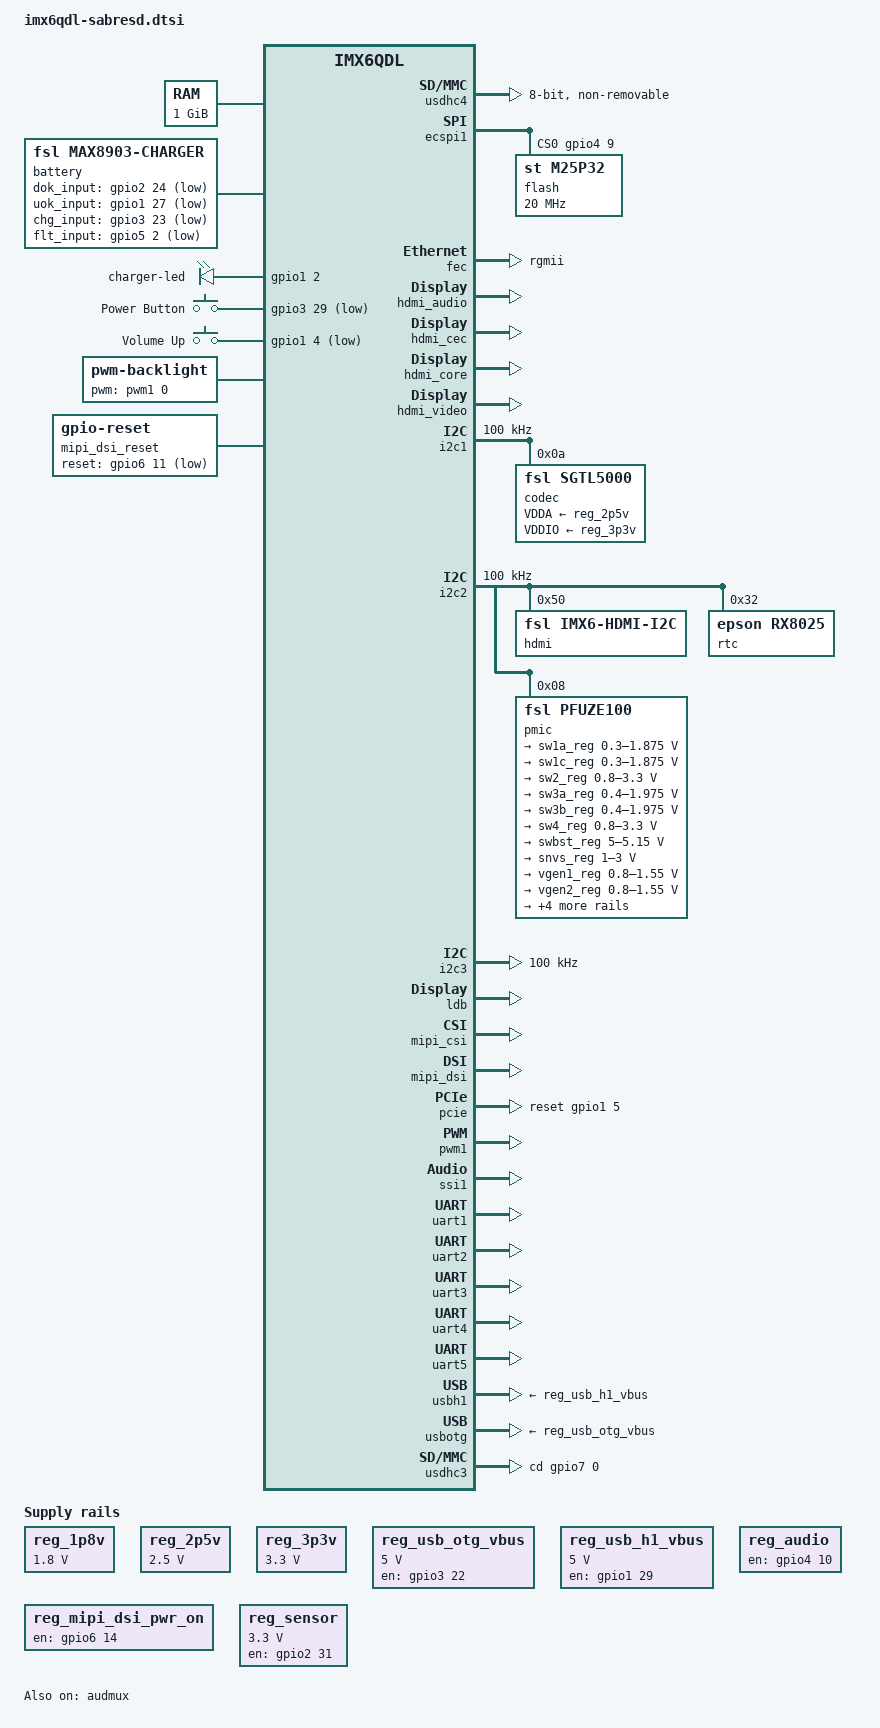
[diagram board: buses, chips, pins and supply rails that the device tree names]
/*
 * Copyright 2012 Freescale Semiconductor, Inc.
 * Copyright 2011 Linaro Ltd.
 *
 * The code contained herein is licensed under the GNU General Public
 * License. You may obtain a copy of the GNU General Public License
 * Version 2 or later at the following locations:
 *
 * http://www.opensource.org/licenses/gpl-license.html
 * http://www.gnu.org/copyleft/gpl.html
 */

/ {
	aliases {
		mxcfb0 = &mxcfb1;
		mxcfb1 = &mxcfb2;
		mxcfb2 = &mxcfb3;
		mxcfb3 = &mxcfb4;
	};

	memory {
		reg = <0x10000000 0x40000000>;
	};

	battery: max8903@0 {
		compatible = "fsl,max8903-charger";
		pinctrl-names = "default";
		dok_input = <&gpio2 24 1>;
		uok_input = <&gpio1 27 1>;
		chg_input = <&gpio3 23 1>;
		flt_input = <&gpio5 2 1>;
		fsl,dcm_always_high;
		fsl,dc_valid;
		fsl,usb_valid;
		status = "okay";
	};

	hannstar_cabc {
		compatible = "hannstar,cabc";

		lvds0 {
			gpios = <&gpio6 15 GPIO_ACTIVE_HIGH>;
		};

		lvds1 {
			gpios = <&gpio6 16 GPIO_ACTIVE_HIGH>;
		};
	};

	leds {
		compatible = "gpio-leds";

		charger-led {
			gpios = <&gpio1 2 0>;
			linux,default-trigger = "max8903-charger-charging";
			retain-state-suspended;
		};
	};

	regulators {
		compatible = "simple-bus";

		//add ben
                reg_1p8v: 1p8v {
                        compatible = "regulator-fixed";
                        regulator-name = "1P8V";
                        regulator-min-microvolt = <1800000>;
                        regulator-max-microvolt = <1800000>;
                        regulator-always-on;
                };

                reg_2p5v: 2p5v {
                        compatible = "regulator-fixed";
                        regulator-name = "2P5V";
                        regulator-min-microvolt = <2500000>;
                        regulator-max-microvolt = <2500000>;
                        regulator-always-on;
                };

                reg_3p3v: 3p3v {
                        compatible = "regulator-fixed";
                        regulator-name = "3P3V";
                        regulator-min-microvolt = <3300000>;
                        regulator-max-microvolt = <3300000>;
                        regulator-always-on;
                };

		reg_usb_otg_vbus: usb_otg_vbus {
			compatible = "regulator-fixed";
			regulator-name = "usb_otg_vbus";
			regulator-min-microvolt = <5000000>;
			regulator-max-microvolt = <5000000>;
			gpio = <&gpio3 22 0>;
			enable-active-high;
		};

		reg_usb_h1_vbus: usb_h1_vbus {
			compatible = "regulator-fixed";
			regulator-name = "usb_h1_vbus";
			regulator-min-microvolt = <5000000>;
			regulator-max-microvolt = <5000000>;
			gpio = <&gpio1 29 0>;
			enable-active-high;
		};

		reg_audio: wm8962_supply {
			compatible = "regulator-fixed";
			regulator-name = "wm8962-supply";
			gpio = <&gpio4 10 0>;
			enable-active-high;
		};

		reg_mipi_dsi_pwr_on: mipi_dsi_pwr_on {
			compatible = "regulator-fixed";
			regulator-name = "mipi_dsi_pwr_on";
			gpio = <&gpio6 14 0>;
			enable-active-high;
		};

		reg_sensor: sensor_supply {
			compatible = "regulator-fixed";
			regulator-name = "sensor-supply";
			regulator-min-microvolt = <3300000>;
			regulator-max-microvolt = <3300000>;
			gpio = <&gpio2 31 0>;
			startup-delay-us = <500>;
			enable-active-high;
		};
	};

	gpio-keys {
		compatible = "gpio-keys";
		power {
			label = "Power Button";
			gpios = <&gpio3 29 1>;
			linux,code = <116>; /* KEY_POWER */
			gpio-key,wakeup;
		};

		volume-up {
			label = "Volume Up";
			gpios = <&gpio1 4 1>;
			linux,code = <115>; /* KEY_VOLUMEUP */
		};
		#if 0
		volume-down {
			label = "Volume Down";
			gpios = <&gpio1 5 1>;
			linux,code = <114>; /* KEY_VOLUMEDOWN */
		};
		#endif
	};

        sound {
                compatible = "fsl,imx6q-nitrogen6x-sgtl5000",
                             "fsl,imx-audio-sgtl5000";
                model = "imx6q-nano-sgtl5000";
                ssi-controller = <&ssi1>;
                audio-codec = <&codec>;
                audio-routing =
                        "MIC_IN", "Mic Jack",
                        "Mic Jack", "Mic Bias",
                        "Headphone Jack", "HP_OUT";
                mux-int-port = <1>;
                mux-ext-port = <4>;
        };

	sound-hdmi {
		compatible = "fsl,imx6q-audio-hdmi",
			     "fsl,imx-audio-hdmi";
		model = "imx-audio-hdmi";
		hdmi-controller = <&hdmi_audio>;
	};

	mxcfb1: fb@0 {
		compatible = "fsl,mxc_sdc_fb";
		disp_dev = "ldb";
		interface_pix_fmt = "RGB666";
		mode_str ="LDB-XGA";
		default_bpp = <16>;
		int_clk = <0>;
		late_init = <0>;
		status = "disabled";
	};

	mxcfb2: fb@1 {
		compatible = "fsl,mxc_sdc_fb";
		disp_dev = "hdmi";
		interface_pix_fmt = "RGB24";
		mode_str ="1920x1080M@60";
		default_bpp = <24>;
		int_clk = <0>;
		late_init = <0>;
		status = "disabled";
	};

	mxcfb3: fb@2 {
		compatible = "fsl,mxc_sdc_fb";
		disp_dev = "lcd";
		interface_pix_fmt = "RGB565";
		mode_str ="CLAA-WVGA";
		default_bpp = <16>;
		int_clk = <0>;
		late_init = <0>;
		status = "disabled";
	};

	mxcfb4: fb@3 {
		compatible = "fsl,mxc_sdc_fb";
		disp_dev = "ldb";
		interface_pix_fmt = "RGB666";
		mode_str ="LDB-XGA";
		default_bpp = <16>;
		int_clk = <0>;
		late_init = <0>;
		status = "disabled";
	};

	lcd@0 {
		compatible = "fsl,lcd";
		ipu_id = <0>;
		disp_id = <0>;
		default_ifmt = "RGB565";
		pinctrl-names = "default";
		pinctrl-0 = <&pinctrl_ipu1_1>;
		status = "okay";
	};

	backlight {
		compatible = "pwm-backlight";
		pwms = <&pwm1 0 5000000>;
		//brightness-levels = <0 4 8 16 32 64 128 255>;
		brightness-levels = <0 4 8 16 32 200 230 255>;
		default-brightness-level = <7>;
	};

	v4l2_cap_0 {
		compatible = "fsl,imx6q-v4l2-capture";
		ipu_id = <0>;
		csi_id = <0>;
		mclk_source = <0>;
		status = "okay";
	};

	v4l2_cap_1 {
		compatible = "fsl,imx6q-v4l2-capture";
		ipu_id = <0>;
		csi_id = <1>;
		mclk_source = <0>;
		status = "okay";
	};

	v4l2_out {
		compatible = "fsl,mxc_v4l2_output";
		status = "okay";
	};

	mipi_dsi_reset: mipi-dsi-reset {
		compatible = "gpio-reset";
		reset-gpios = <&gpio6 11 GPIO_ACTIVE_LOW>;
		reset-delay-us = <50>;
		#reset-cells = <0>;
	};
};

&audmux {
	pinctrl-names = "default";
	pinctrl-0 = <&pinctrl_audmux_2>;
	status = "okay";
};

&cpu0 {
	arm-supply = <&sw1a_reg>;
	soc-supply = <&sw1c_reg>;
	pu-supply = <&pu_dummy>; /* use pu_dummy if VDDSOC share with VDDPU */
};

//emmc flash
&usdhc4 {
        pinctrl-names = "default";
        pinctrl-0 = <&pinctrl_usdhc4_1>;
        bus-width = <8>;
        non-removable;
        no-1-8-v;
	keep-power-in-suspend;
        status = "okay";
};

&ecspi1 {
	fsl,spi-num-chipselects = <1>;
	cs-gpios = <&gpio4 9 0>;
	pinctrl-names = "default";
	pinctrl-0 = <&pinctrl_ecspi1_2>;
	status = "okay";

	flash: m25p80@0 {
		#address-cells = <1>;
		#size-cells = <1>;
		compatible = "st,m25p32";
		spi-max-frequency = <20000000>;
		reg = <0>;
	};
};

&fec {
	pinctrl-names = "default";
	pinctrl-0 = <&pinctrl_enet_1>;
	phy-mode = "rgmii";
	status = "okay";
};

&gpc {
	fsl,cpu_pupscr_sw2iso = <0xf>;
	fsl,cpu_pupscr_sw = <0xf>;
	fsl,cpu_pdnscr_iso2sw = <0x1>;
	fsl,cpu_pdnscr_iso = <0x1>;
	fsl,ldo-bypass = <1>; /* use ldo-bypass, u-boot will check it and configure */
	//fsl,wdog-reset = <2>; /* watchdog select of reset source */
	fsl,wdog-reset = <1>; /* watchdog select of reset source */
	pu-supply = <&pu_dummy>; /* ldo-bypass:use pu_dummy if VDDSOC share with VDDPU */
};

&gpu {
	pu-supply = <&pu_dummy>; /* ldo-bypass:use pu_dummy if VDDSOC share with VDDPU */
};

&hdmi_audio {
	status = "okay";
};

&hdmi_cec {
	pinctrl-names = "default";
	pinctrl-0 = <&pinctrl_hdmi_cec_2>;
	status = "okay";
};

&hdmi_core {
	ipu_id = <0>;
	disp_id = <0>;
	status = "okay";
};

&hdmi_video {
	fsl,phy_reg_vlev = <0x0294>;
	fsl,phy_reg_cksymtx = <0x800d>;
	status = "okay";
};

&i2c1 {
	clock-frequency = <100000>;
	pinctrl-names = "default";
	pinctrl-0 = <&pinctrl_i2c1_1>;
	status = "okay";

        codec: sgtl5000@0a {
                compatible = "fsl,sgtl5000";
                reg = <0x0a>;
                clocks = <&clks 201>;
                VDDA-supply = <&reg_2p5v>;
                VDDIO-supply = <&reg_3p3v>;
        };
};

&i2c2 {
	clock-frequency = <100000>;
	pinctrl-names = "default";
	pinctrl-0 = <&pinctrl_i2c2_2>;
	status = "okay";

	hdmi: edid@50 {
		compatible = "fsl,imx6-hdmi-i2c";
		reg = <0x50>;
	};

        rtc@32 {
                compatible = "epson,rx8025";
                reg = <0x32>;
        };

        pmic: pfuze100@08 {
                compatible = "fsl,pfuze100";
                reg = <0x08>;

                regulators {
                        sw1a_reg: sw1ab {
                                regulator-min-microvolt = <300000>;
                                regulator-max-microvolt = <1875000>;
                                regulator-boot-on;
                                regulator-always-on;
                                regulator-ramp-delay = <6250>;
                        };

                        sw1c_reg: sw1c {
                                regulator-min-microvolt = <300000>;
                                regulator-max-microvolt = <1875000>;
                                regulator-boot-on;
                                regulator-always-on;
                                regulator-ramp-delay = <6250>;
                        };

                        sw2_reg: sw2 {
                                regulator-min-microvolt = <800000>;
                                regulator-max-microvolt = <3300000>;
                                regulator-boot-on;
                                regulator-always-on;
                        };

                        sw3a_reg: sw3a {
                                regulator-min-microvolt = <400000>;
                                regulator-max-microvolt = <1975000>;
                                regulator-boot-on;
                                regulator-always-on;
                        };

                        sw3b_reg: sw3b {
                                regulator-min-microvolt = <400000>;
                                regulator-max-microvolt = <1975000>;
                                regulator-boot-on;
                                regulator-always-on;
                        };

                        sw4_reg: sw4 {
                                regulator-min-microvolt = <800000>;
                                regulator-max-microvolt = <3300000>;
                        };

                        swbst_reg: swbst {
                                regulator-min-microvolt = <5000000>;
                                regulator-max-microvolt = <5150000>;
                        };

                        snvs_reg: vsnvs {
                                regulator-min-microvolt = <1000000>;
                                regulator-max-microvolt = <3000000>;
                                regulator-boot-on;
                                regulator-always-on;
                        };

                        vref_reg: vrefddr {
                                regulator-boot-on;
                                regulator-always-on;
                        };

                        vgen1_reg: vgen1 {
                                regulator-min-microvolt = <800000>;
                                regulator-max-microvolt = <1550000>;
                        };

                        vgen2_reg: vgen2 {
                                regulator-min-microvolt = <800000>;
                                regulator-max-microvolt = <1550000>;
                        };

                        vgen3_reg: vgen3 {
                                regulator-min-microvolt = <1800000>;
                                regulator-max-microvolt = <3300000>;
                        };

                        vgen4_reg: vgen4 {
                                regulator-min-microvolt = <1800000>;
                                regulator-max-microvolt = <3300000>;
                                regulator-always-on;
                        };

                        vgen5_reg: vgen5 {
                                regulator-min-microvolt = <1800000>;
                                regulator-max-microvolt = <3300000>;
                                regulator-always-on;
                        };

                        vgen6_reg: vgen6 {
                                regulator-min-microvolt = <1800000>;
                                regulator-max-microvolt = <3300000>;
                                regulator-always-on;
                        };
                };
        };
};

&i2c3 {
        clock-frequency = <100000>;
        pinctrl-names = "default";
        pinctrl-0 = <&pinctrl_i2c3_2>;
        status = "okay";
};

&iomuxc {
	pinctrl-names = "default";
	pinctrl-0 = <&pinctrl_hog_1>;

	hog {
		pinctrl_hog_1: hoggrp-1 {
			fsl,pins = <
				MX6QDL_PAD_GPIO_4__GPIO1_IO04   0x80000000
				MX6QDL_PAD_GPIO_5__GPIO1_IO05   0x80000000
				MX6QDL_PAD_NANDF_D0__GPIO2_IO00 0x80000000
				MX6QDL_PAD_NANDF_D1__GPIO2_IO01 0x80000000
				MX6QDL_PAD_NANDF_D2__GPIO2_IO02 0x80000000
				MX6QDL_PAD_NANDF_D3__GPIO2_IO03 0x80000000
				MX6QDL_PAD_NANDF_ALE__GPIO6_IO08 0x80000000
				MX6QDL_PAD_NANDF_CLE__GPIO6_IO07 0x80000000
				MX6QDL_PAD_GPIO_0__CCM_CLKO1    0x130b0
				MX6QDL_PAD_NANDF_CS2__GPIO6_IO15 0x80000000
				MX6QDL_PAD_NANDF_CS3__GPIO6_IO16 0x80000000
				//MX6QDL_PAD_EIM_D26__GPIO3_IO26 0x80000000
				MX6QDL_PAD_EIM_CS1__GPIO2_IO24 0x80000000
				MX6QDL_PAD_ENET_RXD0__GPIO1_IO27 0x80000000
				MX6QDL_PAD_EIM_A25__GPIO5_IO02 0x80000000
				MX6QDL_PAD_EIM_D23__GPIO3_IO23 0x80000000
				MX6QDL_PAD_ENET_TXD1__GPIO1_IO29 0x80000000
				MX6QDL_PAD_EIM_D22__GPIO3_IO22  0x80000000
				MX6QDL_PAD_NANDF_CS0__GPIO6_IO11 0x80000000
				MX6QDL_PAD_NANDF_CS1__GPIO6_IO14 0x80000000
				MX6QDL_PAD_EIM_EB3__GPIO2_IO31 0x80000000
				MX6QDL_PAD_EIM_D16__GPIO3_IO16 0x80000000
				MX6QDL_PAD_EIM_DA9__GPIO3_IO09 0x80000000
				MX6QDL_PAD_GPIO_4__GPIO1_IO04 0x80000000
				MX6QDL_PAD_GPIO_5__GPIO1_IO05 0x80000000
				MX6QDL_PAD_EIM_D29__GPIO3_IO29 0x80000000
				MX6QDL_PAD_SD3_RST__GPIO7_IO08 0x80000000
				MX6QDL_PAD_GPIO_9__GPIO1_IO09 0x80000000
				MX6QDL_PAD_GPIO_1__WDOG2_B 0x80000000
				MX6QDL_PAD_GPIO_2__GPIO1_IO02 0x80000000

				//add ben
				MX6QDL_PAD_SD3_DAT5__GPIO7_IO00	0x80000000
				MX6QDL_PAD_GPIO_19__GPIO4_IO05 0x1b0b0
			>;
		};
	};
};

&ldb {
	ipu_id = <1>;
	disp_id = <1>;
	ext_ref = <1>;
	mode = "sep1";
	sec_ipu_id = <1>;
	sec_disp_id = <0>;
	status = "okay";
};

&mipi_csi {
	status = "okay";
	ipu_id = <0>;
	csi_id = <1>;
	v_channel = <0>;
	lanes = <2>;
};

&mipi_dsi {
	dev_id = <0>;
	disp_id = <1>;
	lcd_panel = "TRULY-WVGA";
	disp-power-on-supply = <&reg_mipi_dsi_pwr_on>;
	resets = <&mipi_dsi_reset>;
	status = "okay";
};

&pcie {
        //power-on-gpio = <&gpio3 19 0>;
        //reset-gpio = <&gpio7 12 0>;
        //power-on-gpio = <&gpio3 19 0>;
        //reset-gpio = <&gpio1 5 1>;

	//power-on-gpio = <&gpio3 19 0>;
        reset-gpio = <&gpio1 5 0>;
	reboot_test-gpio = <&gpio4 5 1>;
        status = "okay";
};

&pwm1 {
	pinctrl-names = "default";
	pinctrl-0 = <&pinctrl_pwm1_1>;
	status = "okay";
};

&ssi1 {
        fsl,mode = "i2s-slave";
        status = "okay";
};

&uart1 {
	pinctrl-names = "default";
	pinctrl-0 = <&pinctrl_uart1_1>;
	status = "okay";
};

&uart2 {
        pinctrl-names = "default";
        pinctrl-0 = <&pinctrl_uart2_1>;
        status = "okay";
};

&uart3 {
        pinctrl-names = "default";
        pinctrl-0 = <&pinctrl_uart3_2>;
        status = "okay";
};

&uart4 {
        pinctrl-names = "default";
        pinctrl-0 = <&pinctrl_uart4_1>;
        status = "okay";
};

&uart5 {
        pinctrl-names = "default";
        pinctrl-0 = <&pinctrl_uart5>;
        status = "okay";
};

&usbh1 {
	vbus-supply = <&reg_usb_h1_vbus>;
	status = "okay";
};

&usbotg {
	vbus-supply = <&reg_usb_otg_vbus>;
	pinctrl-names = "default";
	pinctrl-0 = <&pinctrl_usbotg_2>;
	disable-over-current;
	status = "okay";
};

//sd
&usdhc3 {
	pinctrl-names = "default";
	pinctrl-0 = <&pinctrl_usdhc3_1>;
	cd-gpios = <&gpio7 0 0>;
	//wp-gpios = <&gpio2 1 0>;
	no-1-8-v;
	keep-power-in-suspend;
	enable-sdio-wakeup;
	status = "okay";
};

&vpu {
	pu-supply = <&pu_dummy>; /* ldo-bypass:use pu_dummy if VDDSOC share with VDDPU */
};
